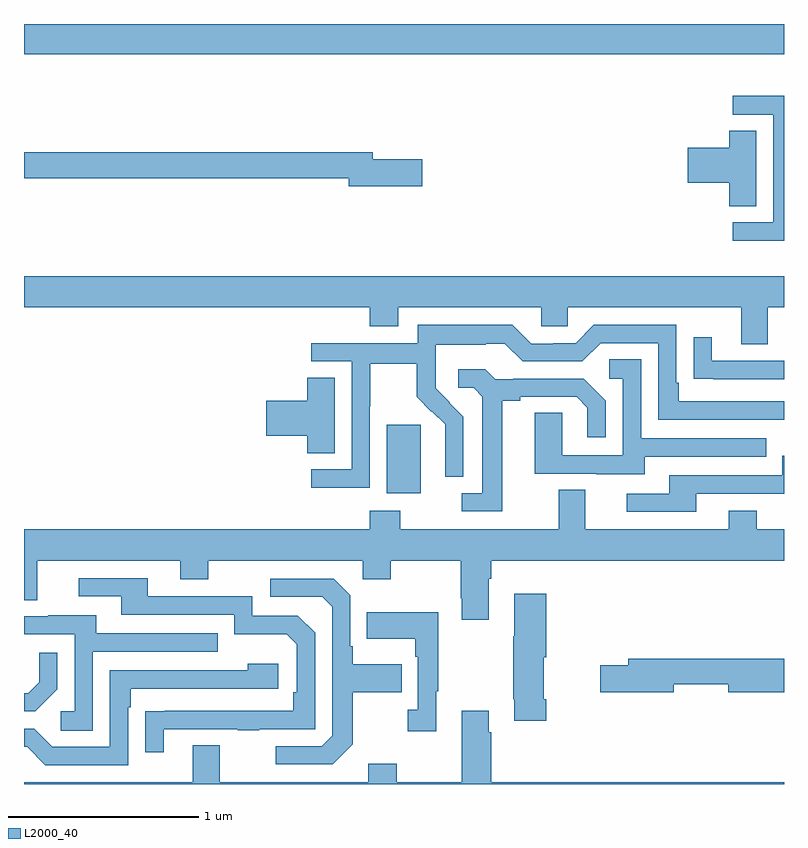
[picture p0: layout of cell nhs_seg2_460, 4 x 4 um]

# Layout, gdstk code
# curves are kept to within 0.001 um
import gdstk
lib = gdstk.Library(unit=1e-6, precision=1e-09)
def R(c, l, rs):  # rectangles x0, y0, x1, y1
    for r in rs: c.add(gdstk.rectangle(r[:2], r[2:], *l))
def P(c, l, *ps):  # polygons
    for p in ps: c.add(gdstk.Polygon(p, *l))
L2000_40 = (2000, 40)

nhs_seg2_460 = lib.new_cell('nhs_seg2_460')
R(nhs_seg2_460, L2000_40, [(134.909,641.33,135.088,641.691), (133,643.64,137,643.8)])
P(nhs_seg2_460, L2000_40, [(137,643.422),(136.731,643.422),(136.731,643.323),(136.944,643.323),(136.944,642.756),(136.731,642.756),(136.731,642.66),(137,642.66)],
  [(136.855,643.238),(136.712,643.238),(136.712,643.148),(136.494,643.148),(136.494,642.965),(136.712,642.965),(136.712,642.841),(136.855,642.841)],
  [(135.097,643.088),(134.836,643.088),(134.836,643.124),(133,643.124),(133,642.988),(134.708,642.988),(134.708,642.946),(135.097,642.946)],
  [(136.915,642.308),(137,642.308),(137,642.472),(133,642.472),(133,642.308),(134.819,642.308),(134.819,642.209),(134.971,642.209),(134.971,642.308),(135.723,642.308),(135.723,642.21),(135.861,642.21),(135.861,642.308),(136.775,642.308),(136.775,642.114),(136.915,642.114)],
  [(134.82,641.788),(134.823,641.788),(134.823,642.012),(135.067,642.012),(135.067,641.837),(135.144,641.76),(135.147,641.763),(135.218,641.693),(135.218,641.57),(135.216,641.57),(135.216,641.416),(135.312,641.416),(135.312,641.734),(135.166,641.882),(135.166,641.979),(135.168,641.979),(135.168,642.113),(135.431,642.113),(135.431,642.117),(135.531,642.117),(135.624,642.024),(135.939,642.024),(136.035,642.12),(136.338,642.12),(136.338,641.718),(137,641.718),(137,641.814),(136.447,641.814),(136.447,641.911),(136.434,641.911),(136.434,642.216),(135.999,642.216),(135.903,642.12),(135.785,642.12),(135.785,642.117),(135.669,642.117),(135.569,642.217),(135.072,642.217),(135.072,642.12),(134.511,642.12),(134.511,642.024),(134.724,642.024),(134.724,641.457),(134.511,641.457),(134.511,641.359),(134.82,641.359)],
  [(137,642.027),(136.621,642.027),(136.621,642.151),(136.525,642.151),(136.525,641.932),(136.627,641.932),(136.627,641.931),(137,641.931)],
  [(136.267,641.523),(136.907,641.523),(136.907,641.619),(136.248,641.619),(136.248,642.035),(136.08,642.035),(136.08,641.934),(136.152,641.934),(136.152,641.529),(135.834,641.529),(135.834,641.753),(135.689,641.753),(135.689,641.433),(136.013,641.433),(136.013,641.429),(136.267,641.429)],
  [(135.517,641.816),(135.613,641.816),(135.613,641.838),(135.908,641.838),(135.965,641.781),(135.965,641.625),(136.062,641.625),(136.062,641.818),(135.946,641.934),(135.574,641.934),(135.574,641.931),(135.48,641.931),(135.428,641.983),(135.285,641.983),(135.285,641.886),(135.366,641.886),(135.413,641.839),(135.413,641.331),(135.303,641.331),(135.303,641.235),(135.517,641.235)],
  [(134.635,641.939),(134.492,641.939),(134.492,641.816),(134.274,641.816),(134.274,641.633),(134.492,641.633),(134.492,641.542),(134.635,641.542)],
  [(136.537,641.328),(137,641.328),(137,641.527),(136.992,641.527),(136.992,641.424),(136.397,641.424),(136.397,641.328),(136.173,641.328),(136.173,641.232),(136.537,641.232)],
  [(135.445,640.88),(135.458,640.88),(135.458,640.976),(137,640.976),(137,641.14),(136.857,641.14),(136.857,641.239),(136.709,641.239),(136.709,641.14),(135.955,641.14),(135.955,641.348),(135.815,641.348),(135.815,641.14),(134.979,641.14),(134.979,641.239),(134.819,641.239),(134.819,641.14),(133,641.14),(133,640.768),(133.069,640.768),(133.069,640.976),(133.823,640.976),(133.823,640.877),(133.971,640.877),(133.971,640.976),(134.784,640.976),(134.784,640.877),(134.931,640.877),(134.931,640.976),(135.298,640.976),(135.298,640.777),(135.305,640.777),(135.305,640.665),(135.445,640.665)],
  [(133.735,640.089),(134.125,640.089),(134.125,640.084),(134.237,640.084),(134.237,640.089),(134.532,640.089),(134.532,640.596),(134.442,640.686),(134.202,640.686),(134.202,640.788),(133.651,640.788),(133.651,640.884),(133.287,640.884),(133.287,640.788),(133.511,640.788),(133.511,640.692),(134.106,640.692),(134.106,640.589),(134.383,640.589),(134.436,640.536),(134.436,640.282),(134.416,640.282),(134.416,640.185),(133.639,640.184),(133.639,639.966),(133.735,639.966)],
  [(134.731,640.009),(134.731,640.282),(134.987,640.282),(134.987,640.429),(134.731,640.429),(134.731,640.525),(134.718,640.525),(134.718,640.794),(134.631,640.881),(134.295,640.881),(134.295,640.785),(134.571,640.785),(134.622,640.734),(134.622,640.053),(134.568,639.999),(134.325,639.999),(134.325,639.903),(134.625,639.903)],
  [(135.749,640.246),(135.736,640.246),(135.736,640.467),(135.749,640.467),(135.749,640.801),(135.581,640.801),(135.581,640.577),(135.574,640.577),(135.574,640.246),(135.581,640.246),(135.581,640.134),(135.749,640.134)],
  [(135.169,640.289),(135.181,640.289),(135.181,640.705),(134.803,640.705),(134.803,640.565),(135.06,640.565),(135.06,640.469),(135.072,640.469),(135.072,640.19),(135.021,640.19),(135.021,640.077),(135.169,640.077)],
  [(133.362,640.497),(134.021,640.497),(134.021,640.593),(133.381,640.593),(133.381,640.687),(133.127,640.687),(133.127,640.683),(133,640.683),(133,640.587),(133.266,640.587),(133.266,640.182),(133.194,640.182),(133.194,640.081),(133.362,640.081)],
  [(133.176,640.298),(133.176,640.492),(133.079,640.492),(133.079,640.335),(133.022,640.278),(133,640.278),(133,640.182),(133.06,640.182)],
  [(136.42,640.324),(136.706,640.324),(136.706,640.282),(137,640.282),(137,640.46),(136.181,640.46),(136.181,640.424),(136.032,640.424),(136.032,640.282),(136.42,640.282)],
  [(133.548,640.205),(133.561,640.205),(133.561,640.302),(134.338,640.302),(134.338,640.432),(134.177,640.432),(134.177,640.398),(133.452,640.398),(133.452,639.996),(133.149,639.996),(133.053,640.092),(133,640.092),(133,639.996),(133.017,639.996),(133.113,639.9),(133.548,639.9)],
  [(137,639.808),(135.458,639.808),(135.458,640.073),(135.445,640.073),(135.445,640.186),(135.305,640.186),(135.305,639.808),(134.961,639.808),(134.961,639.907),(134.813,639.907),(134.813,639.808),(134.029,639.808),(134.029,640.003),(133.889,640.003),(133.889,639.808),(133,639.808),(133,639.8),(137,639.8)])

lib.write_gds('nhs_seg2_460.gds')
